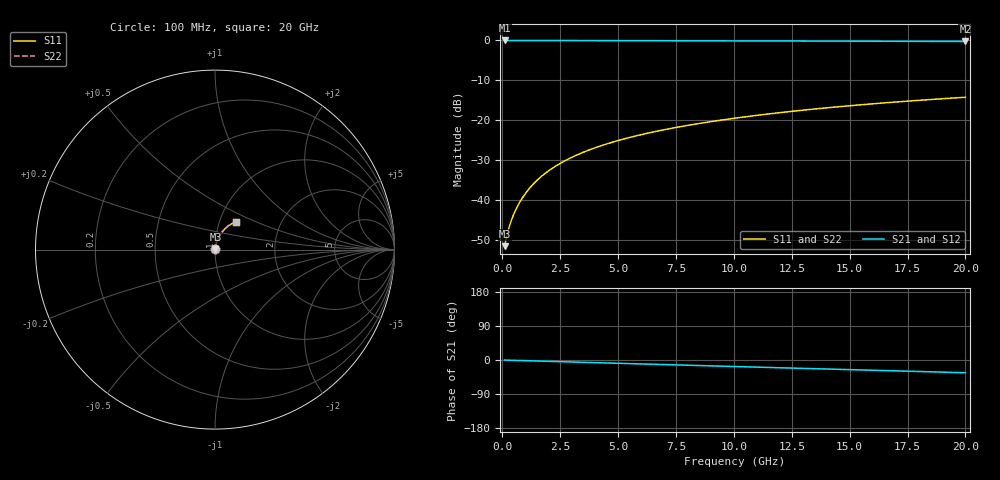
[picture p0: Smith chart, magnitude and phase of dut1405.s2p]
! Touchstone file exported from HFSS 2026.1.0
!  File:  C:/ffzhzh/LocalFiles/Ansys_Project_Files/temp_train_TMRDL_1405_1783166432_22436.aedt
!  Generated:  08:01:46 PM Jul  4, 2026
!  Design:  TMRDL
!  Project:  temp_train_TMRDL_1405_1783166432_22436
! Variables:
!  h_bsmrdl = 2um
!  h_ox = 20um
!  h_rdl = 5um
!  h_sub = 80um
!  h_tmrdl = 4.56um
!  h_tsv = 80um
!  h_via = 3um
!  l_bsmrdl = 300um
!  l_sub = 955.77um
!  l_tmrdl = 555.77um
!  m_sub = 200um
!  pitch = 33.25um
!  r_tsv = 6um
!  s_tmrdl = 10um
!  w_bsmrdl = 18um
!  w_sub = 500um
!  w_tmrdl = 21.01um
!  x_tsv_center1 = 566.275um
!  x_tsv_center2 = 884.275um
!  x_tsv_center3 = 1461.055um
!  x_tsv_center4 = 1779.055um
!  x_tsv_center5 = 2355.835um
!  x_tsv_center6 = 2673.835um
# GHz S MA R 50.000000
! Terminal data exported
! Port[1] = TM_RDL1_1_T1
! Port[2] = TM_RDL1_1_T2
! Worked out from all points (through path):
!   200 points, 100 MHz to 20 GHz, reference 50 ohm
!   highest |S21| = -0.02 dB at 100 MHz (marker M1); lowest = -0.3 dB at 20 GHz (marker M2)
!   group delay of S21, straight-line fit = 4.66 ps
!   lowest |S11| = -51.5 dB at 100 MHz (marker M3), VSWR 1.01, Z = 50.2 + j0.142 ohm
!   |S11| at or under -10 dB: start of sweep to end of sweep
!   |S22| runs from -51.5 to -14.2 dB; largest |S21 - S12| = 3.1e-15
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0.1  0.002668 32.0  0.9977 -0.2  0.9977 -0.2  0.002668 32.0
! Gamma 0 0 0 0
! Port Impedance 50 0 50 0
0.2  0.003647 47.4  0.9975 -0.4  0.9975 -0.4  0.003647 47.4
0.3  0.004674 55.4  0.9974 -0.6  0.9974 -0.6  0.004674 55.4
0.4  0.005704 60.7  0.9973 -0.7  0.9973 -0.7  0.005704 60.7
0.5  0.006745 64.4  0.9972 -0.9  0.9972 -0.9  0.006745 64.4
0.6  0.007804 67.3  0.9971 -1.1  0.9971 -1.1  0.007804 67.3
0.8  0.009968 71.2  0.997 -1.4  0.997 -1.4  0.009968 71.2
1  0.01217 73.6  0.9969 -1.8  0.9969 -1.8  0.01217 73.6
1.2  0.0144 75.2  0.9967 -2.1  0.9967 -2.1  0.0144 75.2
1.4  0.01664 76.2  0.9966 -2.5  0.9966 -2.5  0.01664 76.2
1.7  0.02001 77.2  0.9964 -3.0  0.9964 -3.0  0.02001 77.2
2.2  0.0256 77.8  0.996 -3.9  0.996 -3.9  0.0256 77.8
2.8  0.03226 77.7  0.9954 -4.9  0.9954 -4.9  0.03226 77.7
3.5  0.0399 77.2  0.9946 -6.1  0.9946 -6.1  0.0399 77.2
4.2  0.04743 76.4  0.9937 -7.4  0.9937 -7.4  0.04743 76.4
5  0.05588 75.4  0.9927 -8.7  0.9927 -8.7  0.05588 75.4
6.8  0.07439 72.9  0.9903 -11.8  0.9903 -11.8  0.07439 72.9
8.3  0.08938 70.7  0.9882 -14.3  0.9882 -14.3  0.08938 70.7
10.1  0.1069 68.0  0.9856 -17.3  0.9856 -17.3  0.1069 68.0
13.4  0.1378 63.0  0.9804 -22.8  0.9804 -22.8  0.1378 63.0
16.7  0.167 58.0  0.9749 -28.3  0.9749 -28.3  0.167 58.0
20  0.1943 52.9  0.969 -33.6  0.969 -33.6  0.1943 52.9
